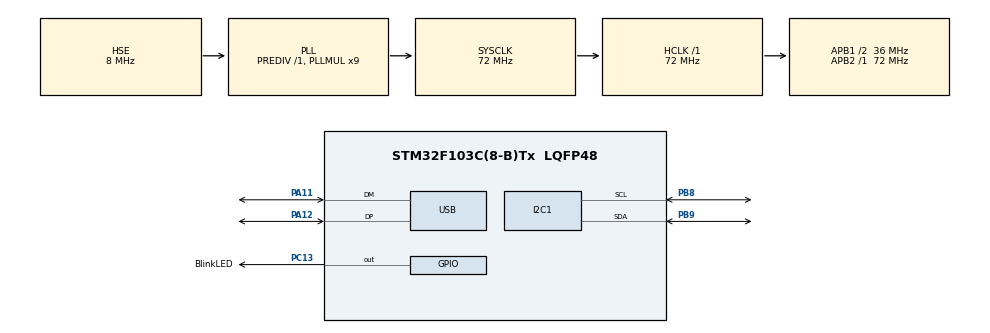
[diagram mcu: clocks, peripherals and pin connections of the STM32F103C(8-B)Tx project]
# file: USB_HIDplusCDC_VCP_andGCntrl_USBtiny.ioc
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Dma.I2C1_RX.0.Direction=DMA_PERIPH_TO_MEMORY
Dma.I2C1_RX.0.Instance=DMA1_Channel7
Dma.I2C1_RX.0.MemDataAlignment=DMA_MDATAALIGN_BYTE
Dma.I2C1_RX.0.MemInc=DMA_MINC_ENABLE
Dma.I2C1_RX.0.Mode=DMA_NORMAL
Dma.I2C1_RX.0.PeriphDataAlignment=DMA_PDATAALIGN_BYTE
Dma.I2C1_RX.0.PeriphInc=DMA_PINC_DISABLE
Dma.I2C1_RX.0.Priority=DMA_PRIORITY_LOW
Dma.I2C1_TX.1.Direction=DMA_MEMORY_TO_PERIPH
Dma.I2C1_TX.1.Instance=DMA1_Channel6
Dma.I2C1_TX.1.MemDataAlignment=DMA_MDATAALIGN_BYTE
Dma.I2C1_TX.1.MemInc=DMA_MINC_ENABLE
Dma.I2C1_TX.1.Mode=DMA_NORMAL
Dma.I2C1_TX.1.PeriphDataAlignment=DMA_PDATAALIGN_BYTE
Dma.I2C1_TX.1.PeriphInc=DMA_PINC_DISABLE
Dma.I2C1_TX.1.Priority=DMA_PRIORITY_LOW
Dma.Request0=I2C1_RX
Dma.Request1=I2C1_TX
I2C1.I2C_Mode=I2C_Fast
Mcu.Family=STM32F1
Mcu.Name=STM32F103C(8-B)Tx
Mcu.Package=LQFP48
NVIC.DMA1_Channel6_IRQn=true\:0\:0\:false\:false\:true\:false\:true
NVIC.DMA1_Channel7_IRQn=true\:0\:0\:false\:false\:true\:false\:true
NVIC.I2C1_ER_IRQn=true\:0\:0\:false\:false\:true\:true\:true
NVIC.I2C1_EV_IRQn=true\:0\:0\:false\:false\:true\:true\:true
NVIC.PriorityGroup=NVIC_PRIORITYGROUP_4
NVIC.USB_HP_CAN1_TX_IRQn=true\:0\:0\:false\:false\:true\:true\:true
NVIC.USB_LP_CAN1_RX0_IRQn=true\:0\:0\:false\:false\:true\:true\:true
PA11.Mode=Device
PA11.Signal=USB_DM
PA12.Mode=Device
PA12.Signal=USB_DP
PA13.Mode=Serial_Wire
PA13.Signal=SYS_JTMS-SWDIO
PA14.Mode=Serial_Wire
PA14.Signal=SYS_JTCK-SWCLK
PB8.Mode=I2C
PB8.Signal=I2C1_SCL
PB9.Mode=I2C
PB9.Signal=I2C1_SDA
PC13-TAMPER-RTC.GPIO_Label=BlinkLED
PC13-TAMPER-RTC.Signal=GPIO_Output
PD0-OSC_IN.Mode=HSE-External-Oscillator
PD0-OSC_IN.Signal=RCC_OSC_IN
PD1-OSC_OUT.Mode=HSE-External-Oscillator
PD1-OSC_OUT.Signal=RCC_OSC_OUT
ProjectManager.HeapSize=0x200
ProjectManager.StackSize=0x400
ProjectManager.TargetToolchain=STM32CubeIDE
RCC.AHBFreq_Value=72000000
RCC.APB1CLKDivider=RCC_HCLK_DIV2
RCC.APB1Freq_Value=36000000
RCC.APB1TimFreq_Value=72000000
RCC.APB2Freq_Value=72000000
RCC.APB2TimFreq_Value=72000000
RCC.HCLKFreq_Value=72000000
RCC.PLLMUL=RCC_PLL_MUL9
RCC.SYSCLKFreq_VALUE=72000000
RCC.SYSCLKSource=RCC_SYSCLKSOURCE_PLLCLK
RCC.USBFreq_Value=48000000
RCC.USBPrescaler=RCC_USBCLKSOURCE_PLL_DIV1_5
board=custom

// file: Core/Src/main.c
/* USER CODE BEGIN Header */
/**
  ******************************************************************************
  * @file           : main.c
  * @brief          : Main program body
  ******************************************************************************
  * @attention
  *
  * <h2><center>&copy; Copyright (c) 2021 STMicroelectronics.
  * All rights reserved.</center></h2>
  *
  * This software component is licensed by ST under BSD 3-Clause license,
  * the "License"; You may not use this file except in compliance with the
  * License. You may obtain a copy of the License at:
  *                        opensource.org/licenses/BSD-3-Clause
  *
  ******************************************************************************
  */
/* USER CODE END Header */
#include "main.h"
#include "dma.h"
#include "i2c.h"
#include "usb.h"
#include "gpio.h"

/* USER CODE BEGIN Includes */
#include "tusb.h"
#include "wii_cc.h"
#include "usb_descriptors.h"
/* USER CODE END Includes */

/* USER CODE BEGIN PM */
void hid_task(void);
void cdc_task(void);
/* USER CODE END PM */

void SystemClock_Config(void);

/* USER CODE BEGIN 0 */
WII_CC_DATA_t wii_data;

/* USER CODE END 0 */

int main(void)
{

  /* MCU Configuration--------------------------------------------------------*/

  /* Reset of all peripherals, Initializes the Flash interface and the Systick. */
  HAL_Init();

  /* Configure the system clock */
  SystemClock_Config();

  /* Initialize all configured peripherals */
  MX_GPIO_Init();
  MX_USB_PCD_Init();
  MX_DMA_Init();
  MX_I2C1_Init();
  /* USER CODE BEGIN 2 */
  wiiCCInit();
  tusb_init();

  /* USER CODE END 2 */

  /* Infinite loop */
  /* USER CODE BEGIN WHILE */
  while (1)
  {
	  wiiCCRead(&wii_data);
	  tud_task();
	  hid_task();
	  cdc_task();
    /* USER CODE END WHILE */

  }
}

void SystemClock_Config(void)
{
  RCC_OscInitTypeDef RCC_OscInitStruct = {0};
  RCC_ClkInitTypeDef RCC_ClkInitStruct = {0};
  RCC_PeriphCLKInitTypeDef PeriphClkInit = {0};

  /** Initializes the RCC Oscillators according to the specified parameters
  * in the RCC_OscInitTypeDef structure.
  */
  RCC_OscInitStruct.OscillatorType = RCC_OSCILLATORTYPE_HSE;
  RCC_OscInitStruct.HSEState = RCC_HSE_ON;
  RCC_OscInitStruct.HSEPredivValue = RCC_HSE_PREDIV_DIV1;
  RCC_OscInitStruct.HSIState = RCC_HSI_ON;
  RCC_OscInitStruct.PLL.PLLState = RCC_PLL_ON;
  RCC_OscInitStruct.PLL.PLLSource = RCC_PLLSOURCE_HSE;
  RCC_OscInitStruct.PLL.PLLMUL = RCC_PLL_MUL9;
  if (HAL_RCC_OscConfig(&RCC_OscInitStruct) != HAL_OK)
  {
    Error_Handler();
  }
  /** Initializes the CPU, AHB and APB buses clocks
  */
  RCC_ClkInitStruct.ClockType = RCC_CLOCKTYPE_HCLK|RCC_CLOCKTYPE_SYSCLK
                              |RCC_CLOCKTYPE_PCLK1|RCC_CLOCKTYPE_PCLK2;
  RCC_ClkInitStruct.SYSCLKSource = RCC_SYSCLKSOURCE_PLLCLK;
  RCC_ClkInitStruct.AHBCLKDivider = RCC_SYSCLK_DIV1;
  RCC_ClkInitStruct.APB1CLKDivider = RCC_HCLK_DIV2;
  RCC_ClkInitStruct.APB2CLKDivider = RCC_HCLK_DIV1;

  if (HAL_RCC_ClockConfig(&RCC_ClkInitStruct, FLASH_LATENCY_2) != HAL_OK)
  {
    Error_Handler();
  }
  PeriphClkInit.PeriphClockSelection = RCC_PERIPHCLK_USB;
  PeriphClkInit.UsbClockSelection = RCC_USBCLKSOURCE_PLL_DIV1_5;
  if (HAL_RCCEx_PeriphCLKConfig(&PeriphClkInit) != HAL_OK)
  {
    Error_Handler();
  }
}

/* USER CODE BEGIN 4 */
// Invoked when device is mounted
void tud_mount_cb(void)
{

}

// Invoked when device is unmounted
void tud_umount_cb(void)
{

}

// Invoked when usb bus is suspended
// remote_wakeup_en : if host allow us  to perform remote wakeup
// Within 7ms, device must draw an average of current less than 2.5 mA from bus
void tud_suspend_cb(bool remote_wakeup_en)
{
  (void) remote_wakeup_en;
}

// Invoked when usb bus is resumed
void tud_resume_cb(void)
{

}

//--------------------------------------------------------------------+
// USB CDC
//--------------------------------------------------------------------+
void cdc_task(void)
{
  // connected() check for DTR bit
  // Most but not all terminal client set this when making connection
  // if ( tud_cdc_connected() )
  {
    // connected and there are data available
    if ( tud_cdc_available() )
    {
      // read datas
      char buf[64];
      uint32_t count = tud_cdc_read(buf, sizeof(buf));
      (void) count;

      // Echo back
      // Note: Skip echo by commenting out write() and write_flush()
      // for throughput test e.g
      //    $ dd if=/dev/zero of=/dev/ttyACM0 count=10000
      tud_cdc_write(buf, count);
      tud_cdc_write_flush();
    }
  }
}

// Invoked when cdc when line state changed e.g connected/disconnected
void tud_cdc_line_state_cb(uint8_t itf, bool dtr, bool rts)
{
  (void) itf;
  (void) rts;

  // TODO set some indicator
  if ( dtr )
  {
    // Terminal connected
  }else
  {
    // Terminal disconnected
  }
}

// Invoked when CDC interface received data from host
void tud_cdc_rx_cb(uint8_t itf)
{
  (void) itf;
}

//--------------------------------------------------------------------+
// USB HID
//--------------------------------------------------------------------+

static void send_hid_report(uint8_t report_id)
{
  // skip if hid is not ready yet
  if ( !tud_hid_ready() ) return;

  switch(report_id)
  {
    case REPORT_ID_GAMEPAD:
    {
    	uint8_t packet[8]={0};
	  //now its copy for copy but I don't will use it finally
		packet[0] = (uint8_t) wii_data.left_trigger;
		packet[1] = (uint8_t) wii_data.right_trigger;
		packet[2] = (uint8_t) wii_data.left_analog_x;
		packet[3] = (uint8_t) wii_data.left_analog_y;
		packet[4] = (uint8_t) wii_data.right_analog_x;
		packet[5] = (uint8_t) wii_data.right_analog_y;

		packet[6] = *((uint8_t*) &wii_data.buttons);
		packet[7] = *(((uint8_t*) &wii_data.buttons)+1);

        tud_hid_report(0, packet, sizeof(packet));

        break;
    }

    default: break;
  }
}

// Every 10ms, we will sent 1 report for each HID profile (keyboard, mouse etc ..)
// tud_hid_report_complete_cb() is used to send the next report after previous one is complete
void hid_task(void)
{
	  // Poll every 10ms
	  const uint32_t interval_ms = 10;
	  static uint32_t start_ms = 0;

	  if ( HAL_GetTick() - start_ms < interval_ms) return; // not enough time
	  {
		  start_ms += interval_ms;
	  }
	    // Send the 1st of report chain, the rest will be sent by tud_hid_report_complete_cb()
	    send_hid_report(REPORT_ID_GAMEPAD);

}

// Invoked when sent REPORT successfully to host
// Application can use this to send the next report
// Note: For composite reports, report[0] is report ID
void tud_hid_report_complete_cb(uint8_t instance, uint8_t const* report, uint8_t len)
{
  (void) instance;
  (void) len;
  send_hid_report(REPORT_ID_GAMEPAD);
}

// Invoked when received GET_REPORT control request
// Application must fill buffer report's content and return its length.
// Return zero will cause the stack to STALL request
uint16_t tud_hid_get_report_cb(uint8_t instance, uint8_t report_id, hid_report_type_t report_type, uint8_t* buffer, uint16_t reqlen)
{
  // TODO not Implemented
  (void) instance;
  (void) report_id;
  (void) report_type;
  (void) buffer;
  (void) reqlen;

  return 0;
}

// Invoked when received SET_REPORT control request or
// received data on OUT endpoint ( Report ID = 0, Type = 0 )
void tud_hid_set_report_cb(uint8_t instance, uint8_t report_id, hid_report_type_t report_type, uint8_t const* buffer, uint16_t bufsize)
{
  (void) instance;
  send_hid_report(REPORT_ID_GAMEPAD);

}
/* USER CODE END 4 */

void Error_Handler(void)
{
  __disable_irq();
  while (1)
  {
  }
}

/************************ (C) COPYRIGHT STMicroelectronics *****END OF FILE****/
